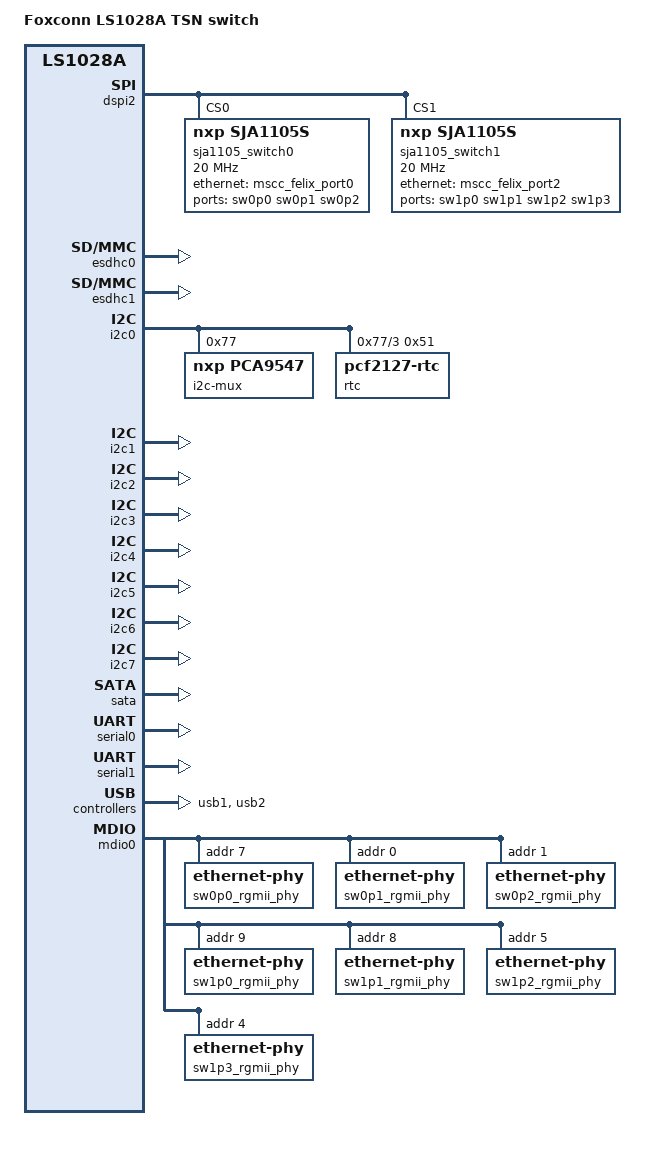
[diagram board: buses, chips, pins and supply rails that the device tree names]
// SPDX-License-Identifier: GPL-2.0+ OR X11
/*
 * Foxconn LS1028A TSN device tree
 *
 * Copyright 2020 NXP
 *
 */

/dts-v1/;

#include "fsl-ls1028a.dtsi"

/ {
	model = "Foxconn LS1028A TSN switch";
	compatible = "fsl,ls1028a-rdb", "fsl,ls1028a";

	aliases {
		eth0 = &enetc2;
		eth1 = &mscc_felix_port0;
		eth2 = &mscc_felix_port2;
		eth3 = &sja1105_switch0_port0;
		eth4 = &sja1105_switch0_port1;
		eth5 = &sja1105_switch0_port2;
		eth6 = &sja1105_switch1_port0;
		eth7 = &sja1105_switch1_port1;
		eth8 = &sja1105_switch1_port2;
		eth9 = &sja1105_switch1_port3;
	};
};

&dspi2 {
	bus-num = <2>;
	status = "okay";

	sja1105_switch0: ethernet-switch@0 {
		reg = <0x0>;
		#address-cells = <1>;
		#size-cells = <0>;
		compatible = "nxp,sja1105s";
		dsa,member = <1 0>;
		spi-max-frequency = <20000000>;
		/* Sample data on trailing clock edge */
		spi-cpha;
		/* SPI controller settings for SJA1105 timing requirements */
		fsl,spi-cs-sck-delay = <1000>;
		fsl,spi-sck-cs-delay = <1000>;

		ports {
			#address-cells = <1>;
			#size-cells = <0>;

			sja1105_switch0_port0: port@0 {
				label = "sw0p0";
				phy-handle = <&sw0p0_rgmii_phy>;
				phy-mode = "rgmii-id";
				reg = <0>;
			};

			sja1105_switch0_port1: port@1 {
				label = "sw0p1";
				phy-handle = <&sw0p1_rgmii_phy>;
				phy-mode = "rgmii-id";
				reg = <1>;
			};

			sja1105_switch0_port2: port@2 {
				label = "sw0p2";
				phy-handle = <&sw0p2_rgmii_phy>;
				phy-mode = "rgmii-id";
				reg = <2>;
			};

			port@3 {
				reg = <3>;
				status = "disabled";
			};

			port@4 {
				ethernet = <&mscc_felix_port0>;
				phy-mode = "sgmii";
				reg = <4>;

				fixed-link {
					speed = <1000>;
					full-duplex;
				};
			};
		};
	};

	/* Daughter card 1 */
	sja1105_switch1: ethernet-switch@1 {
		reg = <0x1>;
		#address-cells = <1>;
		#size-cells = <0>;
		compatible = "nxp,sja1105s";
		dsa,member = <2 0>;
		/* 20 MHz */
		spi-max-frequency = <20000000>;
		spi-cpha;
		fsl,spi-cs-sck-delay = <1000>;
		fsl,spi-sck-cs-delay = <1000>;

		ports {
			#address-cells = <1>;
			#size-cells = <0>;

			sja1105_switch1_port0: port@0 {
				label = "sw1p0";
				phy-handle = <&sw1p0_rgmii_phy>;
				phy-mode = "rgmii-id";
				reg = <0>;
			};

			sja1105_switch1_port1: port@1 {
				label = "sw1p1";
				phy-handle = <&sw1p1_rgmii_phy>;
				phy-mode = "rgmii-id";
				reg = <1>;
			};

			sja1105_switch1_port2: port@2 {
				label = "sw1p2";
				phy-handle = <&sw1p2_rgmii_phy>;
				phy-mode = "rgmii-id";
				reg = <2>;
			};

			sja1105_switch1_port3: port@3 {
				label = "sw1p3";
				phy-handle = <&sw1p3_rgmii_phy>;
				phy-mode = "rgmii-id";
				reg = <3>;
			};

			port@4 {
				ethernet = <&mscc_felix_port2>;
				phy-mode = "sgmii";
				reg = <4>;

				fixed-link {
					speed = <1000>;
					full-duplex;
				};
			};
		};
	};
};

&esdhc0 {
	status = "okay";
};

&esdhc1 {
	status = "okay";
	mmc-hs200-1_8v;
};

&i2c0 {
	status = "okay";
	u-boot,dm-pre-reloc;

	i2c-mux@77 {

		compatible = "nxp,pca9547";
		reg = <0x77>;
		#address-cells = <1>;
		#size-cells = <0>;

		i2c@3 {
			#address-cells = <1>;
			#size-cells = <0>;
			reg = <0x3>;

			rtc@51 {
				compatible = "pcf2127-rtc";
				reg = <0x51>;
			};
		};
	};
};

&i2c1 {
	status = "okay";
};

&i2c2 {
	status = "okay";
};

&i2c3 {
	status = "okay";
};

&i2c4 {
	status = "okay";
};

&i2c5 {
	status = "okay";
};

&i2c6 {
	status = "okay";
};

&i2c7 {
	status = "okay";
};

&sata {
	status = "okay";
};

&serial0 {
	status = "okay";
};

&serial1 {
	status = "okay";
};

&usb1 {
	status = "okay";
};

&usb2 {
	status = "okay";
};

&ethsw_ports {
	/* Master for SJA1105 on main board */
	mscc_felix_port0: port@0 {
		status = "okay";
		phy-mode = "sgmii";

		fixed-link {
			speed = <1000>;
			full-duplex;
		};
	};

	/* Master for SJA1105 on daughter card 1 */
	mscc_felix_port2: port@2 {
		phy-mode = "sgmii";
		status = "okay";

		fixed-link {
			speed = <1000>;
			full-duplex;
		};
	};
};

&mdio0 {
	status = "okay";

	/*
	 * PHYs on main board
	 */

	/* RTL8211FSI */
	sw0p0_rgmii_phy: ethernet-phy@7 {
		reg = <0x7>;
	};

	/* VSC8502 RGMII dual PHY */
	sw0p1_rgmii_phy: ethernet-phy@0 {
		reg = <0x0>;
	};

	sw0p2_rgmii_phy: ethernet-phy@1 {
		reg = <0x1>;
	};

	/*
	 * PHYs on daughter board 1
	 */

	/* RTL8211FSI */
	sw1p0_rgmii_phy: ethernet-phy@9 {
		reg = <0x9>;
	};

	sw1p1_rgmii_phy: ethernet-phy@8 {
		reg = <0x8>;
	};

	/* VSC8502 RGMII dual PHY */
	sw1p2_rgmii_phy: ethernet-phy@5 {
		reg = <0x5>;
	};

	sw1p3_rgmii_phy: ethernet-phy@4 {
		reg = <0x4>;
	};
};
